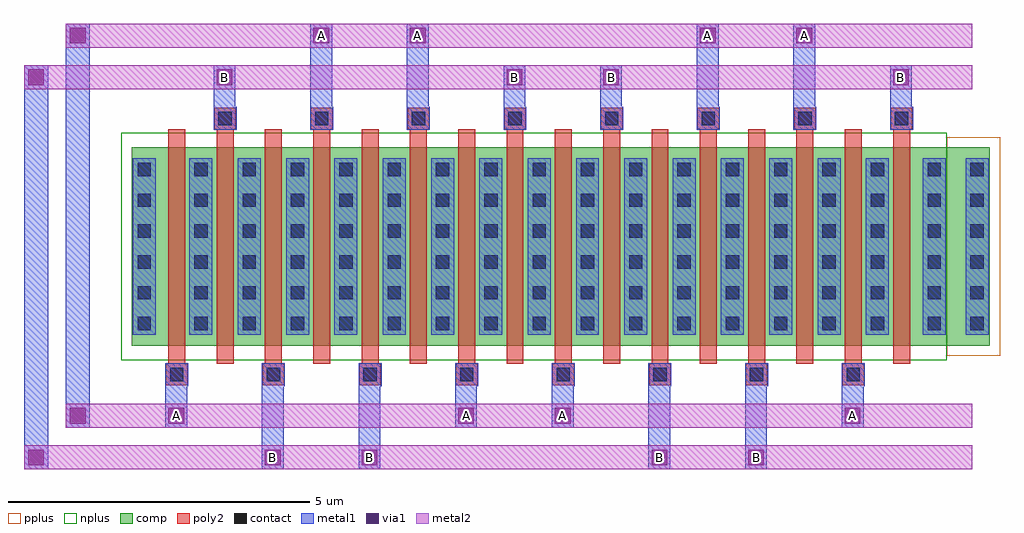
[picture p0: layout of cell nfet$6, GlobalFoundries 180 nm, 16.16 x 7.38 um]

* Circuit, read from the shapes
.subckt nfet$6 A B
XM1 n1 A n2 VSUBS nfet_03v3 w=3.282u l=0.28u
XM2 n3 B n1 VSUBS nfet_03v3 w=3.282u l=0.28u
XM3 n4 B n3 VSUBS nfet_03v3 w=3.282u l=0.28u
XM4 n5 A n4 VSUBS nfet_03v3 w=3.282u l=0.28u
XM5 n6 B n5 VSUBS nfet_03v3 w=3.282u l=0.28u
XM6 n7 A n6 VSUBS nfet_03v3 w=3.282u l=0.28u
XM7 n8 A n7 VSUBS nfet_03v3 w=3.282u l=0.28u
XM8 n9 B n8 VSUBS nfet_03v3 w=3.282u l=0.28u
XM9 n10 A n9 VSUBS nfet_03v3 w=3.282u l=0.28u
XM10 n11 B n10 VSUBS nfet_03v3 w=3.282u l=0.28u
XM11 n12 B n11 VSUBS nfet_03v3 w=3.282u l=0.28u
XM12 n13 A n12 VSUBS nfet_03v3 w=3.282u l=0.28u
XM13 n14 B n13 VSUBS nfet_03v3 w=3.282u l=0.28u
XM14 n15 A n14 VSUBS nfet_03v3 w=3.282u l=0.28u
XM15 n16 A n15 VSUBS nfet_03v3 w=3.282u l=0.28u
XM16 VSUBS B n16 VSUBS nfet_03v3 w=3.282u l=0.28u
.ends

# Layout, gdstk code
import gdstk
lib = gdstk.Library(unit=1e-6, precision=1e-09)
def R(c, l, rs):  # rectangles x0, y0, x1, y1
    for r in rs: c.add(gdstk.rectangle(r[:2], r[2:], *l))
def A(c, l, x, y, w, h, nx, ny, dx, dy):  # array of equal rectangles
    R(c, l, [(x+i*dx, y+j*dy, x+i*dx+w, y+j*dy+h) for i in range(nx) for j in range(ny)])
comp = (22, 0)
poly2 = (30, 0)
pplus = (31, 0)
nplus = (32, 0)
contact = (33, 0)
metal1 = (34, 0)
via1 = (35, 0)
metal2 = (36, 0)

nfet_6 = lib.new_cell('nfet$6')
R(nfet_6, comp, [(-0.42,0,0,3.282), (0,0,12.66,3.282), (12.66,0,13.08,3.282), (13.08,0,13.79,3.282)])
A(nfet_6, poly2, 0.15, -0.66, 0.36, 0.36, 8, 1, 1.6, 0)
A(nfet_6, poly2, 0.19, -0.3, 0.28, 3.882, 16, 1, 0.8, 0)
A(nfet_6, poly2, 0.95, 3.582, 0.36, 0.36, 8, 1, 1.6, 0)
R(nfet_6, pplus, [(13.08,-0.17,13.96,3.452)])
R(nfet_6, nplus, [(-0.59,-0.24,13.08,3.522)])
A(nfet_6, contact, 0.22, -0.59, 0.22, 0.22, 8, 1, 1.6, 0)
A(nfet_6, contact, -0.32, 0.256, 0.22, 0.22, 1, 6, 0, 0.51)
A(nfet_6, contact, 0.62, 0.256, 0.22, 0.22, 15, 6, 0.8, 0.51)
A(nfet_6, contact, 12.76, 0.256, 0.22, 0.22, 1, 6, 0, 0.51)
A(nfet_6, contact, 13.47, 0.256, 0.22, 0.22, 1, 6, 0, 0.51)
A(nfet_6, contact, 1.02, 3.652, 0.22, 0.22, 8, 1, 1.6, 0)
A(nfet_6, metal1, 0.14, -0.671, 0.38, 0.382, 8, 1, 1.6, 0)
A(nfet_6, metal1, 0.54, 0.176, 0.38, 2.93, 15, 1, 0.8, 0)
A(nfet_6, metal1, 0.94, 3.571, 0.38, 0.382, 8, 1, 1.6, 0)
R(nfet_6, metal1, [(-2.2,-2.051,-1.8,4.643), (1.74,-2.051,2.1,-0.289), (3.34,-2.051,3.7,-0.289), (8.14,-2.051,8.5,-0.289), (9.74,-2.051,10.1,-0.289), (-1.51,-1.361,-1.11,5.333), (0.14,-1.361,0.5,-0.289), (4.94,-1.361,5.3,-0.289), (6.54,-1.361,6.9,-0.289), (11.34,-1.361,11.7,-0.289), (-0.4,0.176,-0.02,3.106), (12.68,0.176,13.06,3.106), (13.39,0.176,13.77,3.106), (0.94,3.571,1.3,4.643), (2.54,3.571,2.9,5.333), (4.14,3.571,4.5,5.333), (5.74,3.571,6.1,4.643), (7.34,3.571,7.7,4.643), (8.94,3.571,9.3,5.333), (10.54,3.571,10.9,5.333), (12.14,3.571,12.5,4.643)])
R(nfet_6, via1, [(-2.13,-1.981,-1.87,-1.721), (1.79,-1.981,2.05,-1.721), (3.39,-1.981,3.65,-1.721), (8.19,-1.981,8.45,-1.721), (9.79,-1.981,10.05,-1.721), (-1.44,-1.291,-1.18,-1.031), (0.19,-1.291,0.45,-1.031), (4.99,-1.291,5.25,-1.031), (6.59,-1.291,6.85,-1.031), (11.39,-1.291,11.65,-1.031), (-2.13,4.313,-1.87,4.573), (0.99,4.313,1.25,4.573), (5.79,4.313,6.05,4.573), (7.39,4.313,7.65,4.573), (12.19,4.313,12.45,4.573), (-1.44,5.003,-1.18,5.263), (2.59,5.003,2.85,5.263), (4.19,5.003,4.45,5.263), (8.99,5.003,9.25,5.263), (10.59,5.003,10.85,5.263)])
R(nfet_6, metal2, [(-2.2,-2.051,0,-1.651), (0,-2.051,13.5,-1.651), (-1.51,-1.361,0,-0.961), (0,-1.361,13.5,-0.961), (-2.2,4.243,0,4.643), (0,4.243,13.5,4.643), (-1.51,4.933,0,5.333), (0,4.933,13.5,5.333)])
nfet_6.add(gdstk.Label('B', (1.12,4.443), layer=36, texttype=10))
nfet_6.add(gdstk.Label('B', (5.92,4.443), layer=36, texttype=10))
nfet_6.add(gdstk.Label('B', (7.52,4.443), layer=36, texttype=10))
nfet_6.add(gdstk.Label('B', (12.32,4.443), layer=36, texttype=10))
nfet_6.add(gdstk.Label('A', (2.72,5.133), layer=36, texttype=10))
nfet_6.add(gdstk.Label('A', (4.32,5.133), layer=36, texttype=10))
nfet_6.add(gdstk.Label('A', (9.12,5.133), layer=36, texttype=10))
nfet_6.add(gdstk.Label('A', (10.72,5.133), layer=36, texttype=10))
nfet_6.add(gdstk.Label('A', (0.32,-1.161), layer=36, texttype=10))
nfet_6.add(gdstk.Label('A', (5.12,-1.161), layer=36, texttype=10))
nfet_6.add(gdstk.Label('A', (6.72,-1.161), layer=36, texttype=10))
nfet_6.add(gdstk.Label('A', (11.52,-1.161), layer=36, texttype=10))
nfet_6.add(gdstk.Label('B', (1.92,-1.851), layer=36, texttype=10))
nfet_6.add(gdstk.Label('B', (3.52,-1.851), layer=36, texttype=10))
nfet_6.add(gdstk.Label('B', (8.32,-1.851), layer=36, texttype=10))
nfet_6.add(gdstk.Label('B', (9.92,-1.851), layer=36, texttype=10))

lib.write_gds('nfet_6.gds')
